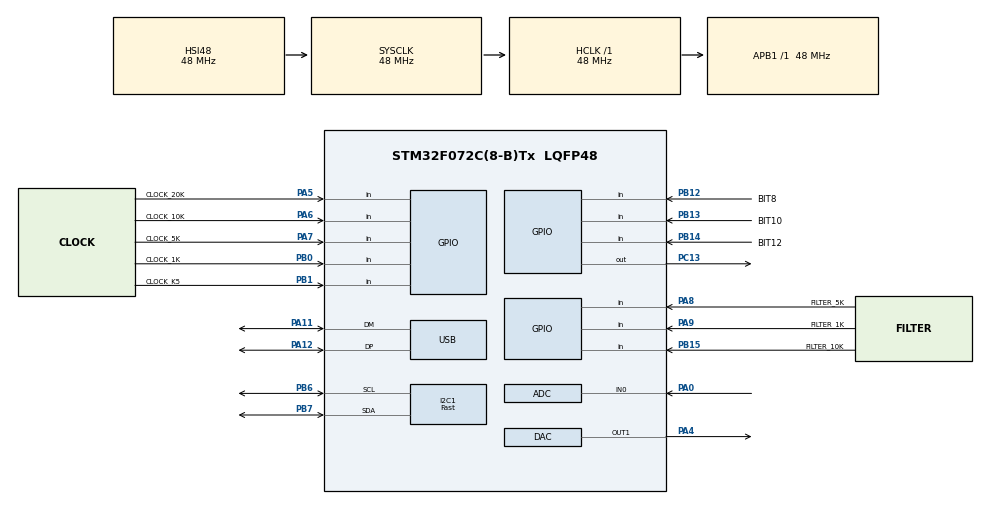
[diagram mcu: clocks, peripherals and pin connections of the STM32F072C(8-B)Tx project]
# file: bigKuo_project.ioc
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ADC.ClockPrescaler=ADC_CLOCK_ASYNC_DIV1
ADC.ContinuousConvMode=ENABLE
ADC.DMAContinuousRequests=ENABLE
ADC.DataAlign=ADC_DATAALIGN_RIGHT
ADC.DiscontinuousConvMode=DISABLE
ADC.EOCSelection=ADC_EOC_SINGLE_CONV
ADC.EnableAnalogWatchDog=false
ADC.ExternalTrigConv=ADC_EXTERNALTRIGCONV_T3_TRGO
ADC.ExternalTrigConvEdge=ADC_EXTERNALTRIGCONVEDGE_RISING
ADC.LowPowerAutoPowerOff=DISABLE
ADC.LowPowerAutoWait=DISABLE
ADC.Overrun=ADC_OVR_DATA_OVERWRITTEN
ADC.Resolution=ADC_RESOLUTION_12B
ADC.SamplingTime=ADC_SAMPLETIME_1CYCLE_5
ADC.ScanConvMode=ADC_SCAN_DIRECTION_FORWARD
DAC.DAC_Trigger=DAC_TRIGGER_T15_TRGO
Dma.ADC.1.Direction=DMA_PERIPH_TO_MEMORY
Dma.ADC.1.Instance=DMA1_Channel1
Dma.ADC.1.MemDataAlignment=DMA_MDATAALIGN_HALFWORD
Dma.ADC.1.MemInc=DMA_MINC_ENABLE
Dma.ADC.1.Mode=DMA_NORMAL
Dma.ADC.1.PeriphDataAlignment=DMA_PDATAALIGN_HALFWORD
Dma.ADC.1.PeriphInc=DMA_PINC_DISABLE
Dma.ADC.1.Priority=DMA_PRIORITY_LOW
Dma.DAC_CH1.0.Direction=DMA_MEMORY_TO_PERIPH
Dma.DAC_CH1.0.Instance=DMA1_Channel3
Dma.DAC_CH1.0.MemDataAlignment=DMA_MDATAALIGN_HALFWORD
Dma.DAC_CH1.0.MemInc=DMA_MINC_ENABLE
Dma.DAC_CH1.0.Mode=DMA_NORMAL
Dma.DAC_CH1.0.PeriphDataAlignment=DMA_PDATAALIGN_HALFWORD
Dma.DAC_CH1.0.PeriphInc=DMA_PINC_DISABLE
Dma.DAC_CH1.0.Priority=DMA_PRIORITY_LOW
Dma.Request0=DAC_CH1
Dma.Request1=ADC
I2C1.I2C_Speed_Mode=I2C_Fast
I2C1.Timing=0x0000020B
Mcu.Family=STM32F0
Mcu.Name=STM32F072C(8-B)Tx
Mcu.Package=LQFP48
NVIC.ADC1_COMP_IRQn=true\:0\:0\:true\:true\:true\:3
NVIC.DMA1_Channel1_IRQn=true\:0\:0\:true\:true\:true\:1
NVIC.DMA1_Channel2_3_IRQn=true\:0\:0\:true\:true\:true\:2
NVIC.TIM2_IRQn=true\:0\:0\:false\:true\:true\:4
NVIC.TIM6_DAC_IRQn=true\:0\:0\:false\:true\:true\:5
NVIC.USB_IRQn=true\:0\:0\:false\:true\:true\:6
PA0.Mode=IN0
PA0.Signal=ADC_IN0
PA11.Mode=Device
PA11.Signal=USB_DM
PA12.Mode=Device
PA12.Signal=USB_DP
PA13.Mode=Serial_Wire
PA13.Signal=SYS_SWDIO
PA14.Mode=Serial_Wire
PA14.Signal=SYS_SWCLK
PA4.Signal=COMP_DAC1_group
PA5.GPIO_Label=CLOCK_20K
PA5.GPIO_PuPd=GPIO_PULLDOWN
PA5.Signal=GPIO_Input
PA6.GPIO_Label=CLOCK_10K
PA6.GPIO_PuPd=GPIO_PULLDOWN
PA6.Signal=GPIO_Input
PA7.GPIO_Label=CLOCK_5K
PA7.GPIO_PuPd=GPIO_PULLDOWN
PA7.Signal=GPIO_Input
PA8.GPIO_Label=FILTER_5K
PA8.GPIO_PuPd=GPIO_PULLDOWN
PA8.Signal=GPIO_Input
PA9.GPIO_Label=FILTER_1K
PA9.GPIO_PuPd=GPIO_PULLDOWN
PA9.Signal=GPIO_Input
PB0.GPIO_Label=CLOCK_1K
PB0.GPIO_PuPd=GPIO_PULLDOWN
PB0.Signal=GPIO_Input
PB1.GPIO_Label=CLOCK_K5
PB1.GPIO_PuPd=GPIO_PULLDOWN
PB1.Signal=GPIO_Input
PB12.GPIO_Label=BIT8
PB12.GPIO_PuPd=GPIO_PULLDOWN
PB12.Signal=GPIO_Input
PB13.GPIO_Label=BIT10
PB13.GPIO_PuPd=GPIO_PULLDOWN
PB13.Signal=GPIO_Input
PB14.GPIO_Label=BIT12
PB14.GPIO_PuPd=GPIO_PULLDOWN
PB14.Signal=GPIO_Input
PB15.GPIO_Label=FILTER_10K
PB15.GPIO_PuPd=GPIO_PULLDOWN
PB15.Signal=GPIO_Input
PB6.Mode=I2C
PB6.Signal=I2C1_SCL
PB7.Mode=I2C
PB7.Signal=I2C1_SDA
PC13.Signal=GPIO_Output
PF0-OSC_IN.Mode=HSE-External-Oscillator
PF0-OSC_IN.Signal=RCC_OSC_IN
PF1-OSC_OUT.Mode=HSE-External-Oscillator
PF1-OSC_OUT.Signal=RCC_OSC_OUT
ProjectManager.HeapSize=0x200
ProjectManager.StackSize=0x400
ProjectManager.TargetToolchain=MDK-ARM V5
RCC.AHBCLKDivider=RCC_SYSCLK_DIV1
RCC.AHBFreq_Value=48000000
RCC.APB1CLKDivider=RCC_HCLK_DIV1
RCC.APB1Freq_Value=48000000
RCC.APB1TimFreq_Value=48000000
RCC.HCLKFreq_Value=48000000
RCC.PLLSourceVirtual=RCC_PLLSOURCE_HSI
RCC.SYSCLKFreq_VALUE=48000000
RCC.SYSCLKSource=RCC_SYSCLKSOURCE_HSI48
SH.COMP_DAC1_group.0=DAC_OUT1,DAC_OUT1
TIM15.Period=50-1
TIM15.Prescaler=48-1
TIM17.Period=50-1
TIM17.Prescaler=48-1
TIM2.Period=50-1
TIM2.Prescaler=48-1
TIM3.Period=50-1
TIM3.Prescaler=48-1
USB_DEVICE.CLASS_NAME_FS=CDC
USB_DEVICE.VirtualMode=Cdc
USB_DEVICE.VirtualModeFS=Cdc_FS
VP_TIM15_VS_ClockSourceINT.Mode=Internal
VP_TIM17_VS_ClockSourceINT.Mode=Enable_Timer
VP_TIM2_VS_ClockSourceINT.Mode=Internal
VP_TIM3_VS_ClockSourceINT.Mode=Internal
VP_USB_DEVICE_VS_USB_DEVICE_CDC_FS.Mode=CDC_FS
board=bigKuo_project

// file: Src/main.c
/**
  ******************************************************************************
  * File Name          : main.c
  * Description        : Main program body
  ******************************************************************************
  * This notice applies to any and all portions of this file
  * that are not between comment pairs USER CODE BEGIN and
  * USER CODE END. Other portions of this file, whether
  * inserted by the user or by software development tools
  * are owned by their respective copyright owners.
  *
  * Copyright (c) 2017 STMicroelectronics International N.V.
  * All rights reserved.
  *
  * Redistribution and use in source and binary forms, with or without
  * modification, are permitted, provided that the following conditions are met:
  *
  * 1. Redistribution of source code must retain the above copyright notice,
  *    this list of conditions and the following disclaimer.
  * 2. Redistributions in binary form must reproduce the above copyright notice,
  *    this list of conditions and the following disclaimer in the documentation
  *    and/or other materials provided with the distribution.
  * 3. Neither the name of STMicroelectronics nor the names of other
  *    contributors to this software may be used to endorse or promote products
  *    derived from this software without specific written permission.
  * 4. This software, including modifications and/or derivative works of this
  *    software, must execute solely and exclusively on microcontroller or
  *    microprocessor devices manufactured by or for STMicroelectronics.
  * 5. Redistribution and use of this software other than as permitted under
  *    this license is void and will automatically terminate your rights under
  *    this license.
  *
  * THIS SOFTWARE IS PROVIDED BY STMICROELECTRONICS AND CONTRIBUTORS "AS IS"
  * AND ANY EXPRESS, IMPLIED OR STATUTORY WARRANTIES, INCLUDING, BUT NOT
  * LIMITED TO, THE IMPLIED WARRANTIES OF MERCHANTABILITY, FITNESS FOR A
  * PARTICULAR PURPOSE AND NON-INFRINGEMENT OF THIRD PARTY INTELLECTUAL PROPERTY
  * RIGHTS ARE DISCLAIMED TO THE FULLEST EXTENT PERMITTED BY LAW. IN NO EVENT
  * SHALL STMICROELECTRONICS OR CONTRIBUTORS BE LIABLE FOR ANY DIRECT, INDIRECT,
  * INCIDENTAL, SPECIAL, EXEMPLARY, OR CONSEQUENTIAL DAMAGES (INCLUDING, BUT NOT
  * LIMITED TO, PROCUREMENT OF SUBSTITUTE GOODS OR SERVICES; LOSS OF USE, DATA,
  * OR PROFITS; OR BUSINESS INTERRUPTION) HOWEVER CAUSED AND ON ANY THEORY OF
  * LIABILITY, WHETHER IN CONTRACT, STRICT LIABILITY, OR TORT (INCLUDING
  * NEGLIGENCE OR OTHERWISE) ARISING IN ANY WAY OUT OF THE USE OF THIS SOFTWARE,
  * EVEN IF ADVISED OF THE POSSIBILITY OF SUCH DAMAGE.
  *
  ******************************************************************************
  */
#include "main.h"
#include "stm32f0xx_hal.h"
#include "adc.h"
#include "dac.h"
#include "dma.h"
#include "i2c.h"
#include "tim.h"
#include "usb_device.h"
#include "gpio.h"

/* USER CODE BEGIN Includes */
#include "usbd_cdc_if.h"
#include "key.h"
#include "hd44780.h"
/* USER CODE END Includes */

/* USER CODE BEGIN PV */
/* Private variables ---------------------------------------------------------*/
static uint32_t sys_counter = 0;
static uint32_t print_counter = 0;
static uint32_t print_counter_limit = 1000/2; // 20k counter / 2 = 500ms
/* USER CODE END PV */

void SystemClock_Config(void);
static void MX_NVIC_Init(void);

/* USER CODE BEGIN PFP */
/* Private function prototypes -----------------------------------------------*/

/* USER CODE END PFP */

/* USER CODE BEGIN 0 */
LCD_PCF8574_HandleTypeDef	lcd;

uint16_t ADCReadings[2]; //ADC Readings
uint16_t ADCReadings_Bitshift; //ADC Readings
uint16_t ADCReadings_Filter; //ADC Readings

uint16_t DACWritings = 4096; //ADC Readings

#define CLOCK_FREQ 		 		48000000   									// 48M
#define TIM_PRESCALER 		48   												// TIM_CLOCK = 48M/48 = 1M = 1000k
#define TIM_CLOCK 				(CLOCK_FREQ/TIM_PRESCALER)	// 48M/48 = 1M = 1000k
#define TIM_20K_PERIOD  	(TIM_CLOCK/20000)    			  // 1000k/20k  = 50
#define TIM_10K_PERIOD  	(TIM_CLOCK/10000)    				// 1000k/10k  = 100
#define TIM_5K_PERIOD   	(TIM_CLOCK/5000)    	  		// 1000k/5k   = 200
#define TIM_1K_PERIOD   	(TIM_CLOCK/1000)    	 			// 1000k/1k   = 1000
#define TIM_K5_PERIOD   	(TIM_CLOCK/500)     				// 1000k/0.5k = 2000

#define LED_FLASH_COUNTER 1000
/* USER CODE END 0 */

int main(void)
{

  /* MCU Configuration----------------------------------------------------------*/

  /* Reset of all peripherals, Initializes the Flash interface and the Systick. */
  HAL_Init();

  /* Configure the system clock */
  SystemClock_Config();

  /* Initialize all configured peripherals */
  MX_GPIO_Init();
  MX_DMA_Init();
  MX_USB_DEVICE_Init();
  MX_ADC_Init();
  MX_DAC_Init();
  MX_I2C1_Init();
  MX_TIM2_Init();
  MX_TIM17_Init();
  MX_TIM15_Init();
  MX_TIM3_Init();

  /* Initialize interrupts */
  MX_NVIC_Init();

  /* USER CODE BEGIN 2 */
	HAL_DAC_Start(&hdac, DAC_CHANNEL_1);

	//HAL_TIM_Base_Start_IT(&htim2);

	lcd.pcf8574.PCF_I2C_ADDRESS = 7;
	lcd.pcf8574.PCF_I2C_TIMEOUT = 1000;
	lcd.pcf8574.i2c.Instance = I2C1;
	lcd.pcf8574.i2c.Init.Timing = 0x0000020B;
	lcd.NUMBER_OF_LINES = NUMBER_OF_LINES_2;
	lcd.type = TYPE0;
	if(LCD_Init(&lcd)!=LCD_OK){
		// error occured
		while(1);
	}
	LCD_ClearDisplay(&lcd);
	LCD_SetLocation(&lcd, 0, 0);
	LCD_WriteString(&lcd, "pi:");
	LCD_SetLocation(&lcd, 0, 1);
	LCD_WriteString(&lcd, "e:");

	char kMsg[200];
	uint8_t  Key_mode = 0;
	uint16_t TIM_prescale_setting = TIM_1K_PERIOD;
  /* USER CODE END 2 */

  /* Infinite loop */
  /* USER CODE BEGIN WHILE */
  while (1)
  {
		if(print_counter >= print_counter_limit){
			print_counter = 0;

			Key_mode = KEY_Scan(&ADC_Setting, 1);
			if (Key_mode == KEY_CLOCK_PRES){
				HAL_TIM_Base_Stop_IT(&htim2);
				// check ADC sample clock
				switch (ADC_Setting.ADC_clock)
				{
					case (CLOCK_20K):
							TIM_prescale_setting = TIM_20K_PERIOD;
							break;
					case (CLOCK_10K):
							TIM_prescale_setting = TIM_10K_PERIOD;
							break;
					case (CLOCK_5K):
							TIM_prescale_setting = TIM_5K_PERIOD;
							break;
					case (CLOCK_1K):
							TIM_prescale_setting = TIM_1K_PERIOD;
							break;
					case (CLOCK_K5):
							TIM_prescale_setting = TIM_K5_PERIOD;
							break;
					default:
							break;

				}
				print_counter_limit = 0.5 * 1000000 / (float)TIM_prescale_setting;
				MX_TIM2_ReInit(TIM_PRESCALER, TIM_prescale_setting);
				HAL_TIM_Base_Start_IT(&htim2);
			}

			sprintf(kMsg,"A:%d, %d, %d M: %d %d %d %d\n", ADCReadings[0], ADCReadings_Bitshift, ADCReadings_Filter,
												Key_mode, ADC_Setting.ADC_clock, ADC_Setting.ADC_bit, ADC_Setting.ADC_filter);
			if(hUsbDeviceFS.dev_state == USBD_STATE_CONFIGURED) {CDC_Transmit_FS((uint8_t *)kMsg, strlen(kMsg));}
	}

		if( sys_counter >= LED_FLASH_COUNTER){
			sys_counter = 0;
			HAL_GPIO_TogglePin(GPIOC, GPIO_PIN_13);
			DACWritings -= 10;
			if( DACWritings < 10){
				DACWritings = 4096;
			}
		}

		// HAL_Delay(500);

  /* USER CODE END WHILE */

  }

}

/** System Clock Configuration
*/
void SystemClock_Config(void)
{

  RCC_OscInitTypeDef RCC_OscInitStruct;
  RCC_ClkInitTypeDef RCC_ClkInitStruct;
  RCC_PeriphCLKInitTypeDef PeriphClkInit;

    /**Initializes the CPU, AHB and APB busses clocks
    */
  RCC_OscInitStruct.OscillatorType = RCC_OSCILLATORTYPE_HSI|RCC_OSCILLATORTYPE_HSI14
                              |RCC_OSCILLATORTYPE_HSI48;
  RCC_OscInitStruct.HSIState = RCC_HSI_ON;
  RCC_OscInitStruct.HSI48State = RCC_HSI48_ON;
  RCC_OscInitStruct.HSI14State = RCC_HSI14_ON;
  RCC_OscInitStruct.HSICalibrationValue = 16;
  RCC_OscInitStruct.HSI14CalibrationValue = 16;
  RCC_OscInitStruct.PLL.PLLState = RCC_PLL_NONE;
  if (HAL_RCC_OscConfig(&RCC_OscInitStruct) != HAL_OK)
  {
    _Error_Handler(__FILE__, __LINE__);
  }

    /**Initializes the CPU, AHB and APB busses clocks
    */
  RCC_ClkInitStruct.ClockType = RCC_CLOCKTYPE_HCLK|RCC_CLOCKTYPE_SYSCLK
                              |RCC_CLOCKTYPE_PCLK1;
  RCC_ClkInitStruct.SYSCLKSource = RCC_SYSCLKSOURCE_HSI48;
  RCC_ClkInitStruct.AHBCLKDivider = RCC_SYSCLK_DIV1;
  RCC_ClkInitStruct.APB1CLKDivider = RCC_HCLK_DIV1;

  if (HAL_RCC_ClockConfig(&RCC_ClkInitStruct, FLASH_LATENCY_1) != HAL_OK)
  {
    _Error_Handler(__FILE__, __LINE__);
  }

  PeriphClkInit.PeriphClockSelection = RCC_PERIPHCLK_USB|RCC_PERIPHCLK_I2C1;
  PeriphClkInit.I2c1ClockSelection = RCC_I2C1CLKSOURCE_HSI;
  PeriphClkInit.UsbClockSelection = RCC_USBCLKSOURCE_HSI48;

  if (HAL_RCCEx_PeriphCLKConfig(&PeriphClkInit) != HAL_OK)
  {
    _Error_Handler(__FILE__, __LINE__);
  }

    /**Configure the Systick interrupt time
    */
  HAL_SYSTICK_Config(HAL_RCC_GetHCLKFreq()/1000);

    /**Configure the Systick
    */
  HAL_SYSTICK_CLKSourceConfig(SYSTICK_CLKSOURCE_HCLK);

  /* SysTick_IRQn interrupt configuration */
  HAL_NVIC_SetPriority(SysTick_IRQn, 0, 0);
}

/** NVIC Configuration
*/
static void MX_NVIC_Init(void)
{
  /* DMA1_Channel1_IRQn interrupt configuration */
  HAL_NVIC_SetPriority(DMA1_Channel1_IRQn, 0, 0);
  HAL_NVIC_EnableIRQ(DMA1_Channel1_IRQn);
  /* DMA1_Channel2_3_IRQn interrupt configuration */
  HAL_NVIC_SetPriority(DMA1_Channel2_3_IRQn, 0, 0);
  HAL_NVIC_EnableIRQ(DMA1_Channel2_3_IRQn);
  /* ADC1_COMP_IRQn interrupt configuration */
  HAL_NVIC_SetPriority(ADC1_COMP_IRQn, 0, 0);
  HAL_NVIC_EnableIRQ(ADC1_COMP_IRQn);
  /* TIM2_IRQn interrupt configuration */
  HAL_NVIC_SetPriority(TIM2_IRQn, 0, 0);
  HAL_NVIC_EnableIRQ(TIM2_IRQn);
  /* TIM6_DAC_IRQn interrupt configuration */
  HAL_NVIC_SetPriority(TIM6_DAC_IRQn, 0, 0);
  HAL_NVIC_EnableIRQ(TIM6_DAC_IRQn);
  /* USB_IRQn interrupt configuration */
  HAL_NVIC_SetPriority(USB_IRQn, 0, 0);
  HAL_NVIC_EnableIRQ(USB_IRQn);
}

/* USER CODE BEGIN 4 */

void HAL_TIM_PeriodElapsedCallback(TIM_HandleTypeDef *htim)
{
	if(htim->Instance == htim2.Instance){
		sys_counter ++;
		print_counter++;

		HAL_ADC_Start_DMA(&hadc, (uint32_t*) ADCReadings, 2); //start the DMA collecting the data
		ADCReadings_Bitshift = ADC_Bitshift(&ADC_Setting, (uint16_t)ADCReadings[0]);
		ADCReadings_Filter	 = ADC_Filter_Output(&ADC_Setting , ADCReadings_Bitshift);
		//HAL_DAC_SetValue(&hdac, DAC_CHANNEL_1, DAC_ALIGN_12B_R, ADCReadings_Filter);
		HAL_DAC_SetValue(&hdac, DAC_CHANNEL_1, DAC_ALIGN_12B_R, (uint32_t)DACWritings);

	}
}

/* USER CODE END 4 */

void _Error_Handler(char * file, int line)
{
  while(1)
  {
  }
}

/************************ (C) COPYRIGHT STMicroelectronics *****END OF FILE****/
